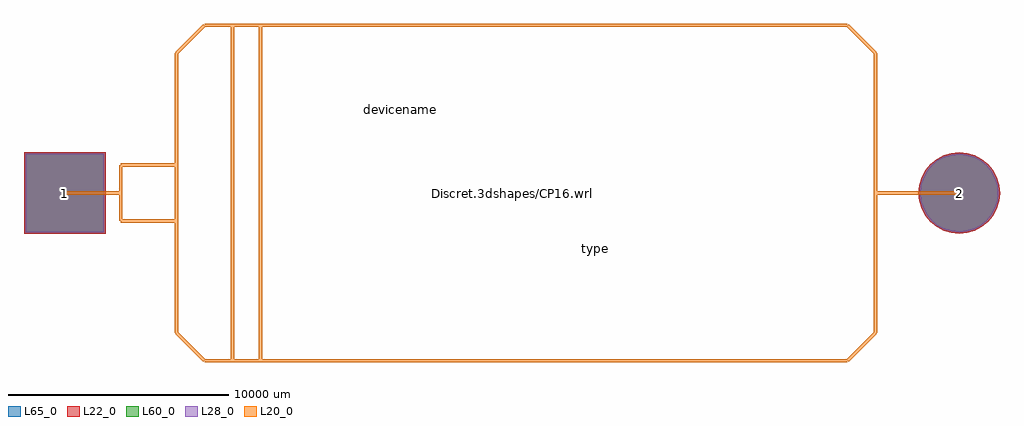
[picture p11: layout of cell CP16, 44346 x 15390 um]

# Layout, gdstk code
import gdstk
lib = gdstk.Library(unit=1e-6, precision=1e-09)
def R(c, l, rs):  # rectangles x0, y0, x1, y1
    for r in rs: c.add(gdstk.rectangle(r[:2], r[2:], *l))
def P(c, l, *ps):  # polygons
    for p in ps: c.add(gdstk.Polygon(p, *l))
L20_0 = (20, 0)
L22_0 = (22, 0)
L28_0 = (28, 0)
L60_0 = (60, 0)
L65_0 = (65, 0)

cp16 = lib.new_cell('CP16')
R(cp16, L22_0, [(-22173,-1853,-18467,1853)])
P(cp16, L22_0, [(22173,0),(22137.395,361.502),(22031.949,709.112),(21860.713,1029.472),(21630.269,1310.269),(21349.472,1540.713),(21029.112,1711.949),(20681.502,1817.395),(20320,1853),(19958.498,1817.395),(19610.888,1711.949),(19290.528,1540.713),(19009.731,1310.269),(18779.287,1029.472),(18608.051,709.112),(18502.605,361.502),(18467,0),(18502.605,-361.502),(18608.051,-709.112),(18779.287,-1029.472),(19009.731,-1310.269),(19290.528,-1540.713),(19610.888,-1711.949),(19958.498,-1817.395),(20320,-1853),(20681.502,-1817.395),(21029.112,-1711.949),(21349.472,-1540.713),(21630.269,-1310.269),(21860.713,-1029.472),(22031.949,-709.112),(22137.395,-361.502)])
R(cp16, L28_0, [(-22098,-1778,-18542,1778)])
P(cp16, L28_0, [(22098,0),(22063.836,346.871),(21962.658,680.411),(21798.353,987.804),(21577.236,1257.236),(21307.804,1478.353),(21000.411,1642.658),(20666.871,1743.836),(20320,1778),(19973.129,1743.836),(19639.589,1642.658),(19332.196,1478.353),(19062.764,1257.236),(18841.647,987.804),(18677.342,680.411),(18576.164,346.871),(18542,0),(18576.164,-346.871),(18677.342,-680.411),(18841.647,-987.804),(19062.764,-1257.236),(19332.196,-1478.353),(19639.589,-1642.658),(19973.129,-1743.836),(20320,-1778),(20666.871,-1743.836),(21000.411,-1642.658),(21307.804,-1478.353),(21577.236,-1257.236),(21798.353,-987.804),(21962.658,-680.411),(22063.836,-346.871)])
R(cp16, L60_0, [(-22098,-1778,-18542,1778)])
P(cp16, L60_0, [(22098,0),(22063.836,346.871),(21962.658,680.411),(21798.353,987.804),(21577.236,1257.236),(21307.804,1478.353),(21000.411,1642.658),(20666.871,1743.836),(20320,1778),(19973.129,1743.836),(19639.589,1642.658),(19332.196,1478.353),(19062.764,1257.236),(18841.647,987.804),(18677.342,680.411),(18576.164,346.871),(18542,0),(18576.164,-346.871),(18677.342,-680.411),(18841.647,-987.804),(19062.764,-1257.236),(19332.196,-1478.353),(19639.589,-1642.658),(19973.129,-1743.836),(20320,-1778),(20666.871,-1743.836),(21000.411,-1642.658),(21307.804,-1478.353),(21577.236,-1257.236),(21798.353,-987.804),(21962.658,-680.411),(22063.836,-346.871)])
R(cp16, L65_0, [(-22173,-1853,-18467,1853)])
P(cp16, L65_0, [(22173,0),(22137.395,361.502),(22031.949,709.112),(21860.713,1029.472),(21630.269,1310.269),(21349.472,1540.713),(21029.112,1711.949),(20681.502,1817.395),(20320,1853),(19958.498,1817.395),(19610.888,1711.949),(19290.528,1540.713),(19009.731,1310.269),(18779.287,1029.472),(18608.051,709.112),(18502.605,361.502),(18467,0),(18502.605,-361.502),(18608.051,-709.112),(18779.287,-1029.472),(19009.731,-1310.269),(19290.528,-1540.713),(19610.888,-1711.949),(19958.498,-1817.395),(20320,-1853),(20681.502,-1817.395),(21029.112,-1711.949),(21349.472,-1540.713),(21630.269,-1310.269),(21860.713,-1029.472),(22031.949,-709.112),(22137.395,-361.502)])
cp16.add(gdstk.FlexPath([(-15240,6350),(-13970,7620)], 149.998, ends="flush", simple_path=True, layer=20, datatype=0))  # L20_0
cp16.add(gdstk.FlexPath([(-17780,-1270),(-15240,-1270)], 149.998, ends="flush", simple_path=True, layer=20, datatype=0))  # L20_0
cp16.add(gdstk.FlexPath([(-17780,1270),(-17780,-1270)], 149.998, ends="flush", simple_path=True, layer=20, datatype=0))  # L20_0
cp16.add(gdstk.FlexPath([(-15240,1270),(-17780,1270)], 149.998, ends="flush", simple_path=True, layer=20, datatype=0))  # L20_0
cp16.add(gdstk.FlexPath([(-11430,-7620),(-11430,7620)], 149.998, ends="flush", simple_path=True, layer=20, datatype=0))  # L20_0
cp16.add(gdstk.FlexPath([(-12700,-7620),(-12700,7620)], 149.998, ends="flush", simple_path=True, layer=20, datatype=0))  # L20_0
cp16.add(gdstk.FlexPath([(20320,0),(16510,0)], 149.998, ends="flush", simple_path=True, layer=20, datatype=0))  # L20_0
cp16.add(gdstk.FlexPath([(-17780,0),(-20320,0)], 149.998, ends="flush", simple_path=True, layer=20, datatype=0))  # L20_0
cp16.add(gdstk.FlexPath([(-15240,-6350),(-15240,-2540)], 149.998, ends="flush", simple_path=True, layer=20, datatype=0))  # L20_0
cp16.add(gdstk.FlexPath([(-13970,-7620),(-15240,-6350)], 149.998, ends="flush", simple_path=True, layer=20, datatype=0))  # L20_0
cp16.add(gdstk.FlexPath([(15240,-7620),(-13970,-7620)], 149.998, ends="flush", simple_path=True, layer=20, datatype=0))  # L20_0
cp16.add(gdstk.FlexPath([(16510,-6350),(15240,-7620)], 149.998, ends="flush", simple_path=True, layer=20, datatype=0))  # L20_0
cp16.add(gdstk.FlexPath([(16510,-5080),(16510,-6350)], 149.998, ends="flush", simple_path=True, layer=20, datatype=0))  # L20_0
cp16.add(gdstk.FlexPath([(15240,7620),(-13970,7620)], 149.998, ends="flush", simple_path=True, layer=20, datatype=0))  # L20_0
cp16.add(gdstk.FlexPath([(16510,6350),(15240,7620)], 149.998, ends="flush", simple_path=True, layer=20, datatype=0))  # L20_0
cp16.add(gdstk.FlexPath([(16510,-5080),(16510,6350)], 149.998, ends="flush", simple_path=True, layer=20, datatype=0))  # L20_0
cp16.add(gdstk.FlexPath([(-15240,-2540),(-15240,6350)], 149.998, ends="flush", simple_path=True, layer=20, datatype=0))  # L20_0
cp16.add(gdstk.Label('Discret.3dshapes/CP16.wrl', (0,0), layer=12, texttype=0))
cp16.add(gdstk.Label('2', (20320,0), layer=28, texttype=0))
cp16.add(gdstk.Label('1', (-20320,0), layer=28, texttype=0))
cp16.add(gdstk.Label('type', (3810,-2540), layer=9, texttype=0))
cp16.add(gdstk.Label('devicename', (-5080,3810), layer=9, texttype=0))

lib.write_gds('CP16.gds')
